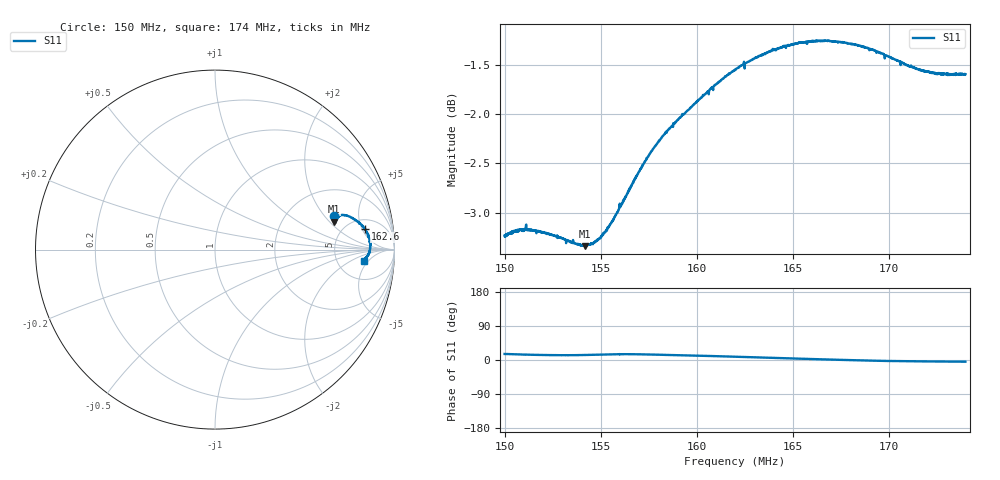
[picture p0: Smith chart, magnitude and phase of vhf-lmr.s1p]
! Calibrated averaged scanner-service zoom
# Hz S RI R 50
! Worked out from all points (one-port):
!   2001 points, 150 MHz to 174 MHz, reference 50 ohm
!   lowest |S11| = -3.3 dB at 154.2 MHz (marker M1), VSWR 5.26, Z = 194 + j113 ohm
!   |S11| at or under -10 dB: nowhere
!   S11 on the Smith chart (normalised r, x): 150 MHz: 3.51, +2.53; 162.6 MHz: 7.29, +5.71; 174 MHz: 9, -4
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1.5e8  0.6626 0.1892
1.50576e8  0.6698 0.1794
1.51188e8  0.6724 0.1693
1.52088e8  0.6732 0.1572
1.53e8  0.6698 0.1518
1.53636e8  0.6659 0.1512
1.54188e8  0.6625 0.1563
1.54668e8  0.6633 0.1641
1.55076e8  0.6669 0.1722
1.55568e8  0.6762 0.1817
1.56e8  0.6898 0.1895
1.56624e8  0.7051 0.1929
1.57248e8  0.7249 0.1916
1.58172e8  0.7507 0.1837
1.59e8  0.7694 0.1732
1.60656e8  0.8025 0.1507
1.62e8  0.8266 0.1262
1.62648e8  0.8364 0.1128
1.63872e8  0.8507 0.0861
1.65e8  0.8593 0.0611
1.65972e8  0.8637 0.0393
1.66644e8  0.8649 0.0246
1.68e8  0.8623 -0.00404
1.69452e8  0.8534 -0.0301
1.70148e8  0.8474 -0.0404
1.71e8  0.8395 -0.0483
1.7244e8  0.8313 -0.0561
1.74e8  0.8297 -0.065
